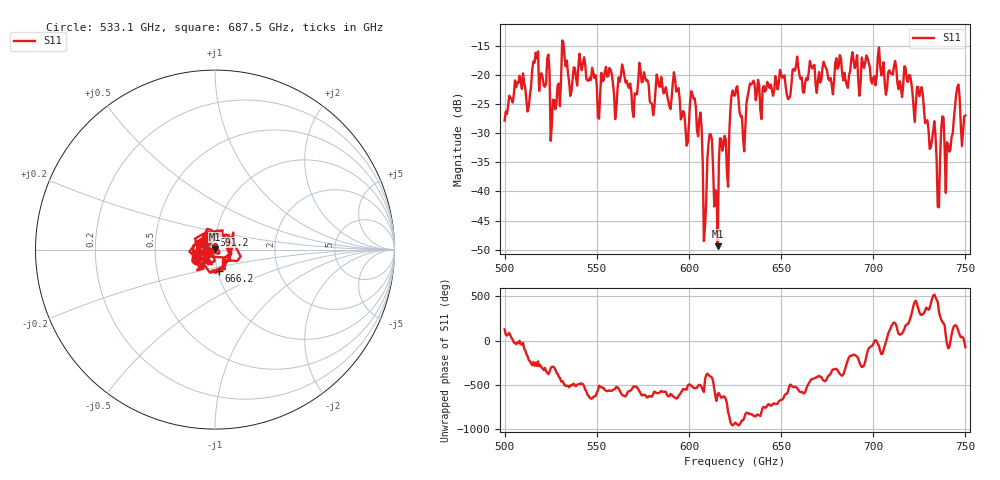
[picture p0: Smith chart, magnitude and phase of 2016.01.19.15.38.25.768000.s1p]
!Created with skrf (http://scikit-rf.org).
# GHz S RI R 50.0
!freq ReS11 ImS11
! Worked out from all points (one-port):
!   401 points, 500 GHz to 750 GHz, reference 50 ohm
!   lowest |S11| = -49.4 dB at 615.6 GHz (marker M1), VSWR 1.01, Z = 49.8 + j0.289 ohm
!   |S11| at or under -10 dB: start of sweep to end of sweep
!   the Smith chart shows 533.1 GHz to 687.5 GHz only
!   S11 on the Smith chart (normalised r, x): 533.1 GHz: 0.81, -0.09; 591.2 GHz: 0.97, +0.17; 666.2 GHz: 1.01, -0.24; 687.5 GHz: 0.81, -0.03
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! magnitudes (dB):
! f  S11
! 500 GHz  -27.8
! 506.9 GHz  -21.3
! 513.1 GHz  -25.3
! 516.9 GHz  -16.2
! 526.2 GHz  -24.3
! 531.2 GHz  -14.1
! 533.1 GHz  -18.5
! 550.6 GHz  -27.4
! 562.5 GHz  -21.1
! 591.2 GHz  -21.4
! 593.8 GHz  -22.5
! 598.8 GHz  -32.1
! 602.5 GHz  -24.1
! 606.2 GHz  -26.5
! 608.8 GHz  -45.9
! 611.2 GHz  -30.2
! 614.4 GHz  -39.8
! 615.6 GHz  -49.4
! 625 GHz  -23.5
! 629.4 GHz  -30.8
! 634.4 GHz  -21.4
! 656.2 GHz  -19.1
! 666.2 GHz  -18.4
! 687.5 GHz  -19.3
! 718.8 GHz  -21.2
! 735 GHz  -42.6
! 745.6 GHz  -22.1
! 750 GHz  -27.0
